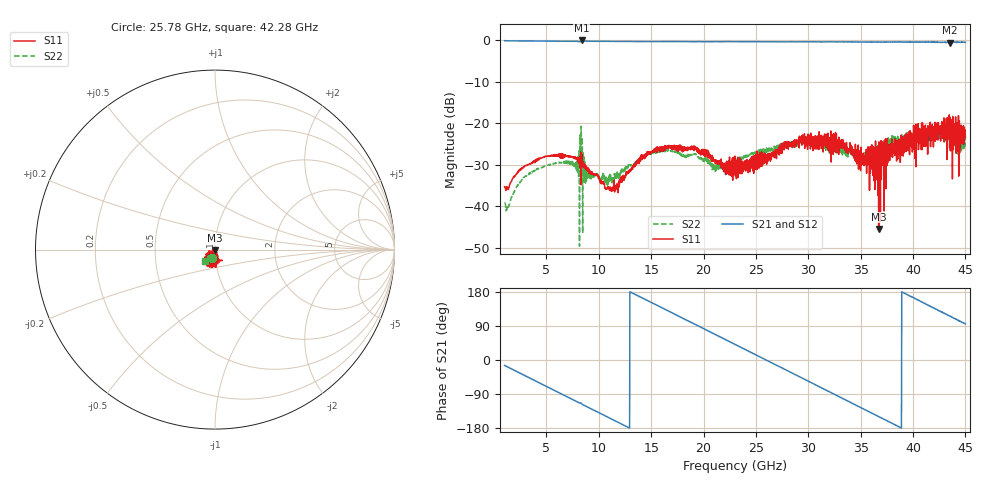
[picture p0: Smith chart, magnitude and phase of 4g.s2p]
!Keysight Technologies,N5247B,MY61255062,A.19.80.06
!Date: Tuesday, May 26, 2026 11:33:19
!Correction: S11(C  2-Port  )
!S21(C  2-Port  )
!S12(C  2-Port  )
!S22(C  2-Port  )
!S2P File: Measurements: S11, S21, S12, S22:
# Hz S  dB  R 50
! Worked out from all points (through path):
!   1601 points, 1 GHz to 45 GHz, reference 50 ohm
!   highest |S21| = -0.06 dB at 8.342 GHz (marker M1); lowest = -0.6 dB at 43.54 GHz (marker M2)
!   group delay of S21, straight-line fit = 38.5 ps
!   lowest |S11| = -45.5 dB at 36.72 GHz (marker M3), VSWR 1.01, Z = 49.7 - j0.452 ohm
!   |S11| at or under -10 dB: start of sweep to end of sweep
!   |S22| runs from -49.6 to -20.1 dB; largest |S21 - S12| = 0.019
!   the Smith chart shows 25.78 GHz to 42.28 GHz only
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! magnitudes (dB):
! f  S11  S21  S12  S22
! 1 GHz  -35.3  -0.1  -0.1  -39.3
! 3.998 GHz  -29.2  -0.2  -0.2  -31.3
! 6.747 GHz  -27.6  -0.3  -0.3  -29.3
! 7.93 GHz  -28.9  -0.3  -0.3  -28.9
! 8.205 GHz  -28.1  -0.4  -0.4  -22.8
! 8.342 GHz  -27.1  -0.1  -0.1  -26.4
! 8.398 GHz  -30.1  -0.1  -0.1  -23.4
! 8.672 GHz  -30.0  -0.2  -0.2  -29.3
! 11.18 GHz  -36.0  -0.3  -0.3  -33.9
! 15.69 GHz  -26.2  -0.3  -0.3  -26.8
! 19.09 GHz  -26.6  -0.4  -0.4  -27.5
! 21.05 GHz  -29.2  -0.3  -0.3  -30.3
! 23 GHz  -27.9  -0.4  -0.4  -29.6
! 27.92 GHz  -26.1  -0.4  -0.4  -25.5
! 30.34 GHz  -23.9  -0.4  -0.4  -25.3
! 33.15 GHz  -25.7  -0.4  -0.4  -27.1
! 34.96 GHz  -26.5  -0.4  -0.4  -27.8
! 36.72 GHz  -45.5  -0.4  -0.5  -27.4
! 37.69 GHz  -28.2  -0.5  -0.4  -26.3
! 40.79 GHz  -26.4  -0.5  -0.4  -23.3
! 43.54 GHz  -18.5  -0.6  -0.5  -24.2
! 45 GHz  -23.3  -0.5  -0.5  -22.9
